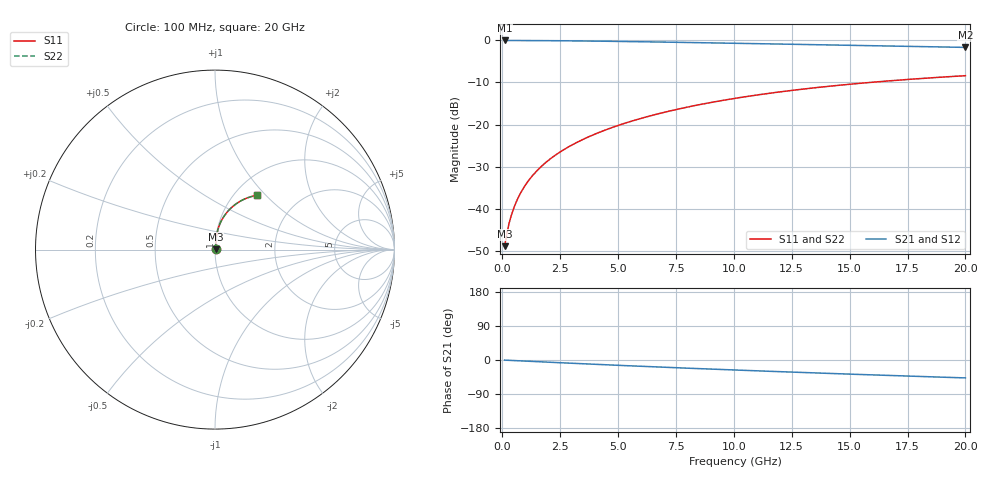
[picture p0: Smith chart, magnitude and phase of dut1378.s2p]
! Touchstone file exported from HFSS 2024.1.0
!  File:  C:/UserFiles/LocalFiles/RDL_TSV_Batchsim/temp_RDL_bottom_1378_1780371424.aedt
!  Generated:  11:39:33 AM Jun  2, 2026
!  Design:  RDL_bottom
!  Project:  temp_RDL_bottom_1378_1780371424
!  Setup:  Setup1
!  Solution:  Sweep
! Variables:
!  dtsv = 10.80580581um
!  hbump = 3um
!  htsv = 92.06um
!  ldown = 691.79um
!  lrdl = 100um
!  p = 40
!  p1 = 50.54um
!  rhole = 1um
!  t = 450um
!  tdown = 3.84um
!  trdl = 3.915915916um
!  wdown = 23.56um
!  wrdl = 20um
# GHz S MA R 50.000000
! Terminal data exported
! Port[1] = RDL1_T1
! Port[2] = RDL1_T2
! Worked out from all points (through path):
!   200 points, 100 MHz to 20 GHz, reference 50 ohm
!   highest |S21| = -0.03 dB at 100 MHz (marker M1); lowest = -1.7 dB at 20 GHz (marker M2)
!   group delay of S21, straight-line fit = 6.51 ps
!   lowest |S11| = -48.9 dB at 100 MHz (marker M3), VSWR 1.01, Z = 50.3 + j0.212 ohm
!   |S11| at or under -10 dB: start of sweep to 15.87 GHz
!   |S22| runs from -48.9 to -8.4 dB; largest |S21 - S12| = 6.2e-15
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0.1  0.003594 35.8  0.9971 -0.3  0.9971 -0.3  0.003594 35.8
! Gamma 0 0 0 0
! Port Impedance 50 0 50 0
0.2  0.005131 52.9  0.9969 -0.6  0.9969 -0.6  0.005131 52.9
0.3  0.006814 61.3  0.9966 -0.9  0.9966 -0.9  0.006814 61.3
0.4  0.008524 66.4  0.9964 -1.2  0.9964 -1.2  0.008524 66.4
0.5  0.01025 70.0  0.9962 -1.5  0.9962 -1.5  0.01025 70.0
0.6  0.012 72.6  0.996 -1.8  0.996 -1.8  0.012 72.6
0.8  0.01555 76.2  0.9957 -2.3  0.9957 -2.3  0.01555 76.2
1.1  0.02098 79.3  0.9949 -3.2  0.9949 -3.2  0.02098 79.3
1.3  0.02465 80.6  0.9944 -3.8  0.9944 -3.8  0.02465 80.6
1.6  0.03022 81.9  0.9934 -4.6  0.9934 -4.6  0.03022 82.0
2.1  0.03964 83.2  0.9913 -6.1  0.9913 -6.1  0.03964 83.2
2.7  0.05117 83.8  0.9882 -7.8  0.9882 -7.8  0.05117 83.8
3.5  0.06692 83.9  0.9832 -10.0  0.9832 -10.0  0.06692 83.9
4.2  0.08104 83.5  0.978 -11.9  0.978 -11.9  0.08104 83.5
5  0.09753 82.7  0.9715 -14.0  0.9715 -14.0  0.09754 82.7
6.8  0.1356 80.0  0.9552 -18.6  0.9552 -18.6  0.1356 80.1
8.4  0.1699 77.0  0.9396 -22.6  0.9396 -22.6  0.1699 77.1
10.1  0.2058 73.5  0.9226 -26.5  0.9226 -26.5  0.2058 73.5
11.7  0.2385 70.0  0.9065 -30.2  0.9065 -30.2  0.2385 70.0
13.4  0.2716 66.3  0.8894 -33.9  0.8894 -33.9  0.2717 66.3
16.7  0.3302 59.2  0.8566 -40.8  0.8566 -40.8  0.3302 59.2
20  0.3804 52.5  0.825 -47.3  0.825 -47.3  0.3805 52.6
